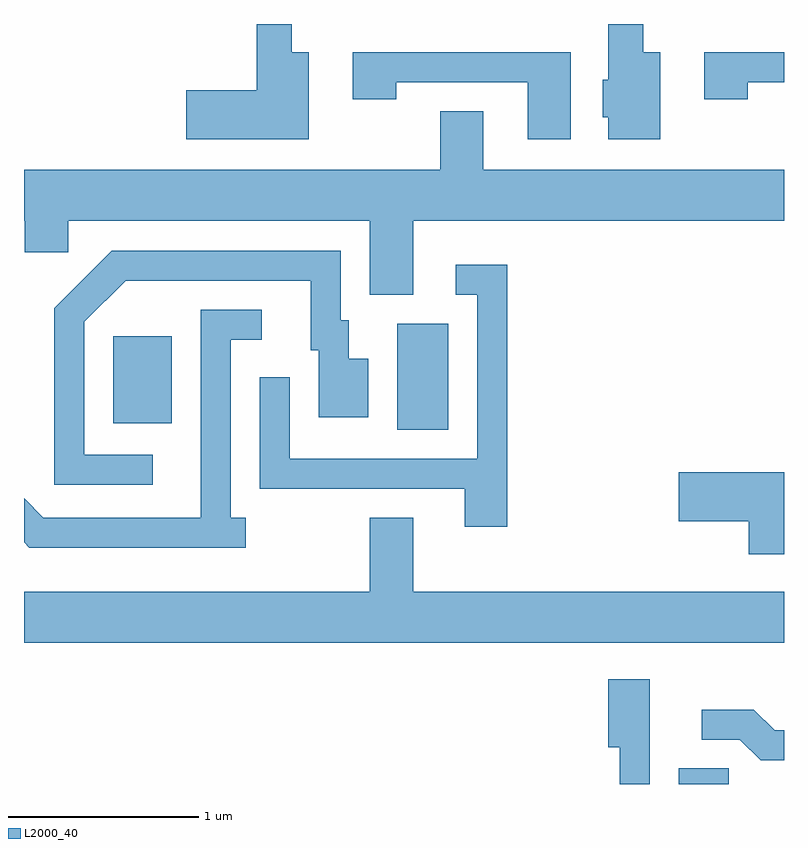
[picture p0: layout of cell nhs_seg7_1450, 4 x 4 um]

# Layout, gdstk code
import gdstk
lib = gdstk.Library(unit=1e-6, precision=1e-09)
def R(c, l, rs):  # rectangles x0, y0, x1, y1
    for r in rs: c.add(gdstk.rectangle(r[:2], r[2:], *l))
def P(c, l, *ps):  # polygons
    for p in ps: c.add(gdstk.Polygon(p, *l))
L2000_40 = (2000, 40)

nhs_seg7_1450 = lib.new_cell('nhs_seg7_1450')
R(nhs_seg7_1450, L2000_40, [(233.056,1700.252,233.319,1700.334), (231.576,1702.116,231.844,1702.674), (230.081,1702.151,230.389,1702.609)])
P(nhs_seg7_1450, L2000_40, [(232.959,1704.104),(232.869,1704.104),(232.869,1704.252),(232.686,1704.252),(232.686,1703.959),(232.656,1703.959),(232.656,1703.761),(232.686,1703.761),(232.686,1703.646),(232.959,1703.646)],
  [(231.109,1704.104),(231.019,1704.104),(231.019,1704.252),(230.836,1704.252),(230.836,1703.904),(230.466,1703.904),(230.466,1703.646),(231.109,1703.646)],
  [(232.489,1704.104),(231.341,1704.104),(231.341,1703.856),(231.569,1703.856),(231.569,1703.946),(232.261,1703.946),(232.261,1703.646),(232.489,1703.646)],
  [(233.419,1703.946),(233.611,1703.946),(233.611,1704.104),(233.191,1704.104),(233.191,1703.856),(233.419,1703.856)],
  [(231.659,1703.216),(233.611,1703.216),(233.611,1703.484),(232.029,1703.484),(232.029,1703.794),(231.801,1703.794),(231.801,1703.484),(229.611,1703.484),(229.611,1703.216),(229.616,1703.216),(229.616,1703.051),(229.844,1703.051),(229.844,1703.216),(231.431,1703.216),(231.431,1702.826),(231.659,1702.826)],
  [(230.288,1701.984),(229.929,1701.984),(229.929,1702.684),(230.147,1702.901),(231.121,1702.901),(231.121,1702.536),(231.161,1702.536),(231.161,1702.181),(231.424,1702.181),(231.424,1702.489),(231.319,1702.489),(231.319,1702.694),(231.279,1702.694),(231.279,1703.059),(230.074,1703.059),(229.771,1702.757),(229.771,1701.826),(230.288,1701.826)],
  [(232.154,1702.984),(231.883,1702.984),(231.883,1702.826),(231.996,1702.826),(231.996,1701.964),(231.009,1701.964),(231.009,1702.393),(230.851,1702.393),(230.851,1701.806),(231.931,1701.806),(231.931,1701.606),(232.154,1701.606)],
  [(230.778,1701.654),(230.699,1701.654),(230.699,1702.591),(230.863,1702.591),(230.863,1702.749),(230.541,1702.749),(230.541,1701.654),(229.712,1701.654),(229.611,1701.755),(229.611,1701.524),(229.639,1701.496),(230.778,1701.496)],
  [(233.611,1701.894),(233.056,1701.894),(233.056,1701.636),(233.426,1701.636),(233.426,1701.461),(233.611,1701.461)],
  [(233.611,1701.264),(231.659,1701.264),(231.659,1701.654),(231.431,1701.654),(231.431,1701.264),(229.611,1701.264),(229.611,1700.996),(233.611,1700.996)],
  [(232.904,1700.804),(232.686,1700.804),(232.686,1700.446),(232.746,1700.446),(232.746,1700.252),(232.904,1700.252)],
  [(233.611,1700.534),(233.562,1700.534),(233.452,1700.644),(233.178,1700.644),(233.178,1700.486),(233.379,1700.486),(233.489,1700.376),(233.611,1700.376)])

lib.write_gds('nhs_seg7_1450.gds')
